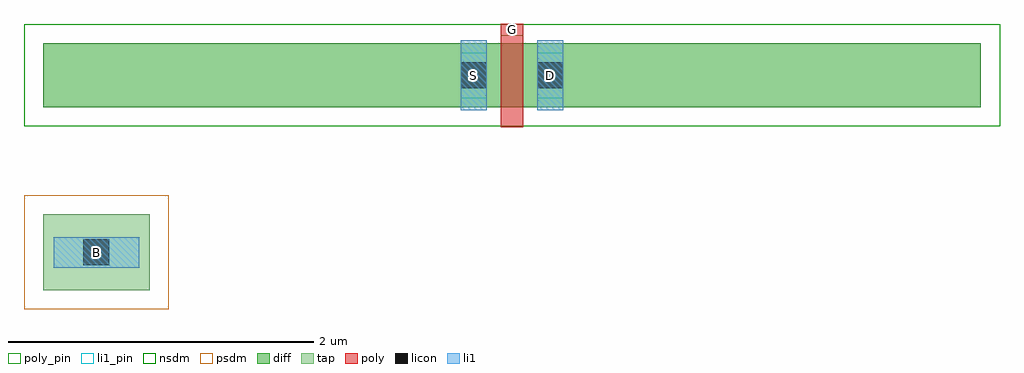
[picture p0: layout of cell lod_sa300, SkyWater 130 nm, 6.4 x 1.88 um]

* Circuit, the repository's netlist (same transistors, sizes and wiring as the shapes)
* NGSPICE file created from lod_sa300.ext - technology: sky130A

.subckt lod_sa300 S D G B
X0 D G S B sky130_fd_pr__nfet_01v8 ad=1.26 pd=6.84 as=1.26 ps=6.84 w=0.42 l=0.15
.ends

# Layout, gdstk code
import gdstk
lib = gdstk.Library(unit=1e-6, precision=1e-09)
def R(c, l, rs):  # rectangles x0, y0, x1, y1
    for r in rs: c.add(gdstk.rectangle(r[:2], r[2:], *l))
diff = (65, 20)
tap = (65, 44)
poly_pin = (66, 16)
poly = (66, 20)
licon = (66, 44)
li1_pin = (67, 16)
li1 = (67, 20)
nsdm = (93, 44)
psdm = (94, 20)

lod_sa300 = lib.new_cell('lod_sa300')
R(lod_sa300, diff, [(0,0,6.15,0.42)])
R(lod_sa300, tap, [(0,-1.2,0.7,-0.7)])
R(lod_sa300, poly_pin, [(3,0.47,3.15,0.55)])
R(lod_sa300, poly, [(3,-0.13,3.15,0.55)])
R(lod_sa300, licon, [(0.265,-1.035,0.435,-0.865), (2.74,0.125,2.91,0.295), (3.24,0.125,3.41,0.295)])
R(lod_sa300, li1_pin, [(0.07,-1.05,0.63,-0.85), (2.74,0.06,2.91,0.36), (3.24,0.06,3.41,0.36)])
R(lod_sa300, li1, [(0.07,-1.05,0.63,-0.85), (2.74,-0.02,2.91,0.44), (3.24,-0.02,3.41,0.44)])
R(lod_sa300, nsdm, [(-0.125,-0.125,6.275,0.545)])
R(lod_sa300, psdm, [(-0.125,-1.325,0.825,-0.575)])
lod_sa300.add(gdstk.Label('S', (2.825,0.21), layer=67, texttype=5))
lod_sa300.add(gdstk.Label('D', (3.325,0.21), layer=67, texttype=5))
lod_sa300.add(gdstk.Label('G', (3.075,0.51), layer=66, texttype=5))
lod_sa300.add(gdstk.Label('B', (0.35,-0.95), layer=67, texttype=5))

lib.write_gds('lod_sa300.gds')
